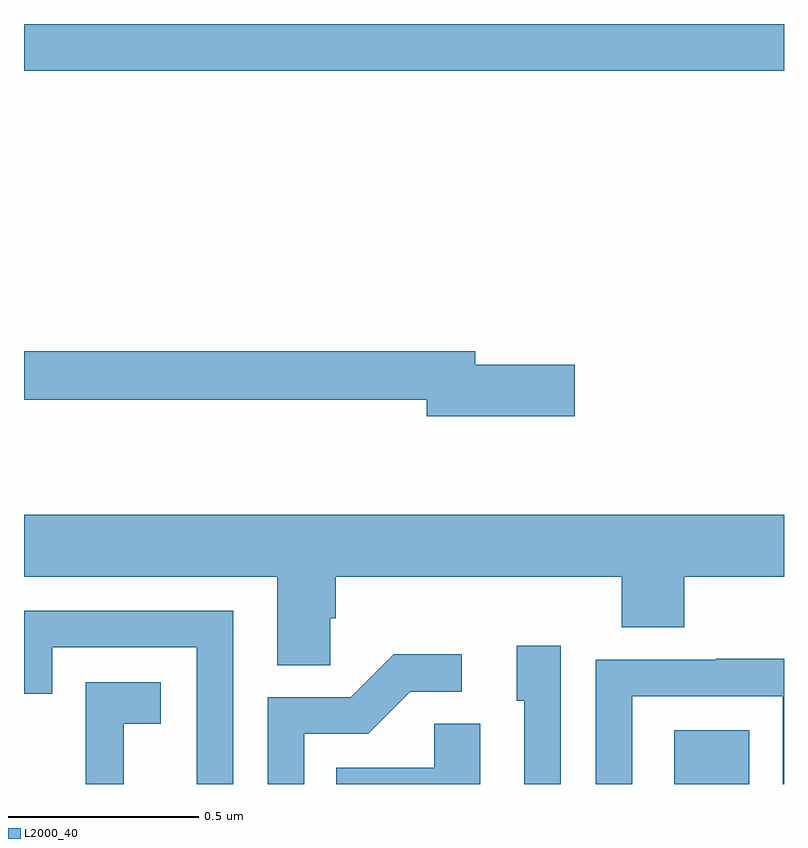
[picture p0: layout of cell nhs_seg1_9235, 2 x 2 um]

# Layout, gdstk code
import gdstk
lib = gdstk.Library(unit=1e-6, precision=1e-09)
def R(c, l, rs):  # rectangles x0, y0, x1, y1
    for r in rs: c.add(gdstk.rectangle(r[:2], r[2:], *l))
def P(c, l, *ps):  # polygons
    for p in ps: c.add(gdstk.Polygon(p, *l))
L2000_40 = (2000, 40)

nhs_seg1_9235 = lib.new_cell('nhs_seg1_9235')
R(nhs_seg1_9235, L2000_40, [(227.711,539.199,227.908,539.341), (226,541.076,228,541.199)])
P(nhs_seg1_9235, L2000_40, [(227.449,540.302),(227.188,540.302),(227.188,540.338),(226,540.338),(226,540.21),(227.06,540.21),(227.06,540.167),(227.449,540.167)],
  [(226.806,539.635),(226.82,539.635),(226.82,539.744),(227.573,539.744),(227.573,539.611),(227.738,539.611),(227.738,539.744),(228,539.744),(228,539.908),(226,539.908),(226,539.744),(226.667,539.744),(226.667,539.512),(226.806,539.512)],
  [(226.551,539.655),(226,539.655),(226,539.436),(226.074,539.436),(226.074,539.559),(226.455,539.559),(226.455,539.199),(226.551,539.199)],
  [(227.412,539.563),(227.297,539.563),(227.297,539.418),(227.316,539.418),(227.316,539.199),(227.412,539.199)],
  [(226.737,539.331),(226.906,539.331),(227.017,539.442),(227.152,539.442),(227.152,539.54),(226.973,539.54),(226.86,539.427),(226.641,539.427),(226.641,539.199),(226.737,539.199)],
  [(227.601,539.43),(227.997,539.43),(227.997,539.199),(228,539.199),(228,539.528),(227.821,539.528),(227.821,539.526),(227.505,539.526),(227.505,539.199),(227.601,539.199)],
  [(226.262,539.357),(226.36,539.357),(226.36,539.467),(226.162,539.467),(226.162,539.261),(226.163,539.261),(226.163,539.199),(226.262,539.199)],
  [(227.2,539.357),(227.079,539.357),(227.079,539.242),(226.822,539.242),(226.822,539.199),(227.2,539.199)])

lib.write_gds('nhs_seg1_9235.gds')
